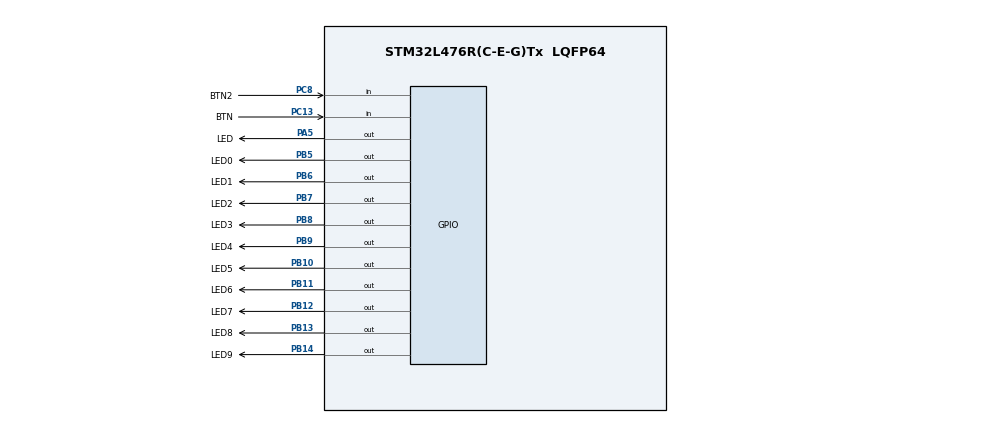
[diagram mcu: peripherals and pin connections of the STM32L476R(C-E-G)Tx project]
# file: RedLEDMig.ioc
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Mcu.Family=STM32L4
Mcu.Name=STM32L476R(C-E-G)Tx
Mcu.Package=LQFP64
NVIC.PriorityGroup=NVIC_PRIORITYGROUP_4
PA5.GPIO_Label=LED
PA5.Signal=GPIO_Output
PB10.GPIO_Label=LED5
PB10.Signal=GPIO_Output
PB11.GPIO_Label=LED6
PB11.Signal=GPIO_Output
PB12.GPIO_Label=LED7
PB12.Signal=GPIO_Output
PB13.GPIO_Label=LED8
PB13.Signal=GPIO_Output
PB14.GPIO_Label=LED9
PB14.Signal=GPIO_Output
PB5.GPIO_Label=LED0
PB5.Signal=GPIO_Output
PB6.GPIO_Label=LED1
PB6.Signal=GPIO_Output
PB7.GPIO_Label=LED2
PB7.Signal=GPIO_Output
PB8.GPIO_Label=LED3
PB8.Signal=GPIO_Output
PB9.GPIO_Label=LED4
PB9.Signal=GPIO_Output
PC13.GPIO_Label=BTN
PC13.Signal=GPIO_Input
PC8.GPIO_Label=BTN2
PC8.Signal=GPIO_Input
ProjectManager.HeapSize=0x200
ProjectManager.StackSize=0x400
ProjectManager.TargetToolchain=STM32CubeIDE
RCC.HSE_VALUE=8000000
RCC.HSI_VALUE=16000000
RCC.LSE_VALUE=32768
RCC.MSI_VALUE=4000000
RCC.VCOOutputFreq_Value=32000000
board=custom

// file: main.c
/* USER CODE BEGIN Header */
/**
  ******************************************************************************
  * @file           : main.c
  * @brief          : Main program body
  ******************************************************************************
  * @attention
  *
  * Copyright (c) 2024 STMicroelectronics.
  * All rights reserved.
  *
  * This software is licensed under terms that can be found in the LICENSE file
  * in the root directory of this software component.
  * If no LICENSE file comes with this software, it is provided AS-IS.
  *
  ******************************************************************************
  */
/* USER CODE END Header */
#include "main.h"

/* USER CODE BEGIN Includes */
#include "stdbool.h"
/* USER CODE END Includes */

void SystemClock_Config(void);
static void MX_GPIO_Init(void);

/* USER CODE BEGIN 0 */
typedef struct {
	GPIO_TypeDef* port;
	uint16_t pin;
}pin_t;

static const pin_t LED[] = {
		{LED0_GPIO_Port, LED0_Pin},
		{LED1_GPIO_Port, LED1_Pin},
		{LED2_GPIO_Port, LED2_Pin},
		{LED3_GPIO_Port, LED3_Pin},
		{LED4_GPIO_Port, LED4_Pin},
		{LED5_GPIO_Port, LED5_Pin},
		{LED6_GPIO_Port, LED6_Pin},
		{LED7_GPIO_Port, LED7_Pin},
		{LED8_GPIO_Port, LED8_Pin},
		{LED9_GPIO_Port, LED9_Pin}
};

void led_set(int led, bool turn_on) {

	GPIO_PinState state = (turn_on) ? GPIO_PIN_SET : GPIO_PIN_RESET;

	if(led >=0 && led <= 10) HAL_GPIO_WritePin(LED[led].port, LED[led].pin, state);
}

bool is_btn_pressed(int button) {

	switch(button) {
	case 0: {
		return HAL_GPIO_ReadPin(BTN_GPIO_Port, BTN_Pin) == GPIO_PIN_RESET ? true : false;
		break;
	}
	case 1: {
		return HAL_GPIO_ReadPin(BTN2_GPIO_Port, BTN2_Pin) == GPIO_PIN_RESET ? true : false;
		break;
	}
	default:
		return false;
	}

}
/* USER CODE END 0 */

int main(void)
{

  /* MCU Configuration--------------------------------------------------------*/

  /* Reset of all peripherals, Initializes the Flash interface and the Systick. */
  HAL_Init();

  /* Configure the system clock */
  SystemClock_Config();

  /* Initialize all configured peripherals */
  MX_GPIO_Init();
  /* USER CODE BEGIN 2 */
  int led = 0;
  led_set(0, true);
  /* USER CODE END 2 */

  /* Infinite loop */
  /* USER CODE BEGIN WHILE */
  while (1)
  {
	  if(is_btn_pressed(0)) {
		  led_set(led, false);
		  led++;

		  if (led>=10) {
			  led = 0;
		  }
		  led_set(led, true);
		  while(is_btn_pressed(0));
	  }

	  if(is_btn_pressed(1)) {
	  		  led_set(led, false);
	  		  HAL_Delay(20);

	  		  if (--led<0) {
	  			  led = 9;
	  		  }
	  		  led_set(led, true);
	  		  HAL_Delay(20);
	  		  while(is_btn_pressed(1));

	  }
	    /* USER CODE END WHILE */

    /* USER CODE END WHILE */

  }
}

void SystemClock_Config(void)
{
  RCC_OscInitTypeDef RCC_OscInitStruct = {0};
  RCC_ClkInitTypeDef RCC_ClkInitStruct = {0};

  /** Configure the main internal regulator output voltage
  */
  if (HAL_PWREx_ControlVoltageScaling(PWR_REGULATOR_VOLTAGE_SCALE1) != HAL_OK)
  {
    Error_Handler();
  }

  /** Initializes the RCC Oscillators according to the specified parameters
  * in the RCC_OscInitTypeDef structure.
  */
  RCC_OscInitStruct.OscillatorType = RCC_OSCILLATORTYPE_MSI;
  RCC_OscInitStruct.MSIState = RCC_MSI_ON;
  RCC_OscInitStruct.MSICalibrationValue = 0;
  RCC_OscInitStruct.MSIClockRange = RCC_MSIRANGE_6;
  RCC_OscInitStruct.PLL.PLLState = RCC_PLL_NONE;
  if (HAL_RCC_OscConfig(&RCC_OscInitStruct) != HAL_OK)
  {
    Error_Handler();
  }

  /** Initializes the CPU, AHB and APB buses clocks
  */
  RCC_ClkInitStruct.ClockType = RCC_CLOCKTYPE_HCLK|RCC_CLOCKTYPE_SYSCLK
                              |RCC_CLOCKTYPE_PCLK1|RCC_CLOCKTYPE_PCLK2;
  RCC_ClkInitStruct.SYSCLKSource = RCC_SYSCLKSOURCE_MSI;
  RCC_ClkInitStruct.AHBCLKDivider = RCC_SYSCLK_DIV1;
  RCC_ClkInitStruct.APB1CLKDivider = RCC_HCLK_DIV1;
  RCC_ClkInitStruct.APB2CLKDivider = RCC_HCLK_DIV1;

  if (HAL_RCC_ClockConfig(&RCC_ClkInitStruct, FLASH_LATENCY_0) != HAL_OK)
  {
    Error_Handler();
  }
}

static void MX_GPIO_Init(void)
{
  GPIO_InitTypeDef GPIO_InitStruct = {0};

  /* GPIO Ports Clock Enable */
  __HAL_RCC_GPIOC_CLK_ENABLE();
  __HAL_RCC_GPIOA_CLK_ENABLE();
  __HAL_RCC_GPIOB_CLK_ENABLE();

  /*Configure GPIO pin Output Level */
  HAL_GPIO_WritePin(LED_GPIO_Port, LED_Pin, GPIO_PIN_RESET);

  /*Configure GPIO pin Output Level */
  HAL_GPIO_WritePin(GPIOB, LED5_Pin|LED6_Pin|LED7_Pin|LED8_Pin
                          |LED9_Pin|LED0_Pin|LED1_Pin|LED2_Pin
                          |LED3_Pin|LED4_Pin, GPIO_PIN_RESET);

  /*Configure GPIO pins : BTN_Pin BTN2_Pin */
  GPIO_InitStruct.Pin = BTN_Pin|BTN2_Pin;
  GPIO_InitStruct.Mode = GPIO_MODE_INPUT;
  GPIO_InitStruct.Pull = GPIO_NOPULL;
  HAL_GPIO_Init(GPIOC, &GPIO_InitStruct);

  /*Configure GPIO pin : LED_Pin */
  GPIO_InitStruct.Pin = LED_Pin;
  GPIO_InitStruct.Mode = GPIO_MODE_OUTPUT_PP;
  GPIO_InitStruct.Pull = GPIO_NOPULL;
  GPIO_InitStruct.Speed = GPIO_SPEED_FREQ_LOW;
  HAL_GPIO_Init(LED_GPIO_Port, &GPIO_InitStruct);

  /*Configure GPIO pins : LED5_Pin LED6_Pin LED7_Pin LED8_Pin
                           LED9_Pin LED0_Pin LED1_Pin LED2_Pin
                           LED3_Pin LED4_Pin */
  GPIO_InitStruct.Pin = LED5_Pin|LED6_Pin|LED7_Pin|LED8_Pin
                          |LED9_Pin|LED0_Pin|LED1_Pin|LED2_Pin
                          |LED3_Pin|LED4_Pin;
  GPIO_InitStruct.Mode = GPIO_MODE_OUTPUT_PP;
  GPIO_InitStruct.Pull = GPIO_NOPULL;
  GPIO_InitStruct.Speed = GPIO_SPEED_FREQ_LOW;
  HAL_GPIO_Init(GPIOB, &GPIO_InitStruct);

}

void Error_Handler(void)
{
  __disable_irq();
  while (1)
  {
  }
}
